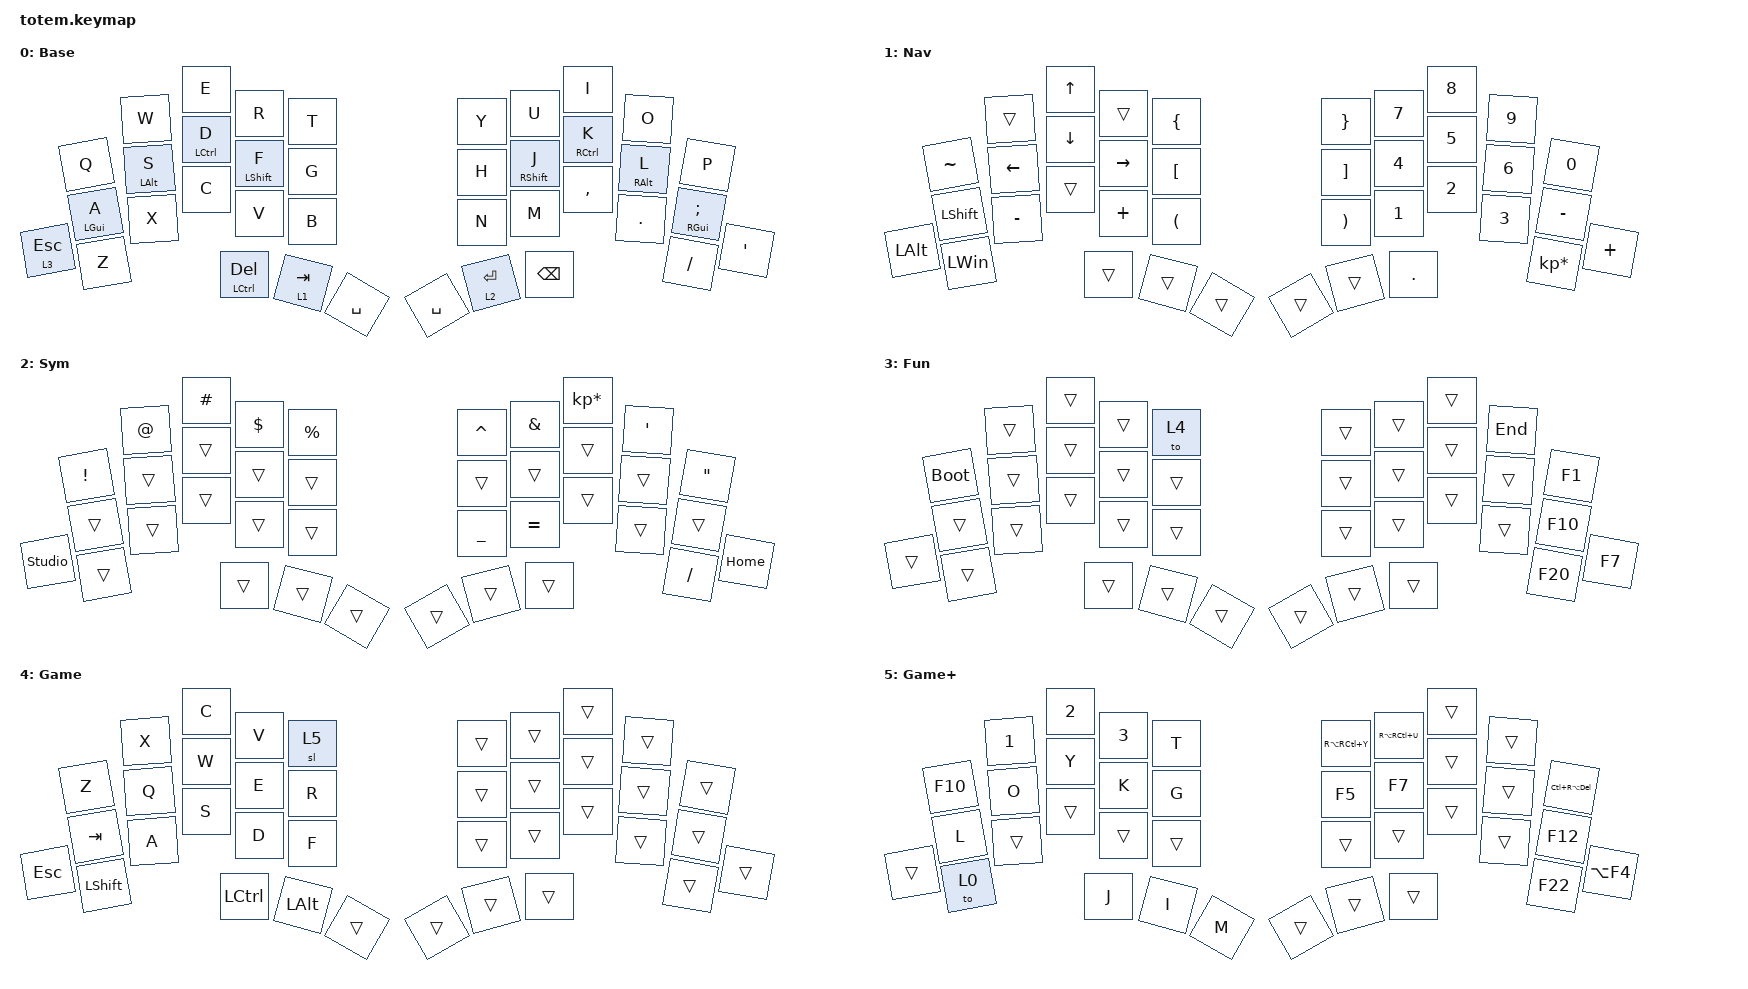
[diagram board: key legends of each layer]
//
//                                                        ▀▀▀▀▀     ▀▀▀▀▀          ▀▀█▀▀
//                                                        ▄▀▀▀▄  ▄  ▄▀▀▀▄  ▄  ▄▀▀▀▄  █  ▄▀▀▀▄
//                                                        █   █  █  █   █  █  █   █  █  █   █
//                                                         ▀▀▀   █   ▀▀▀   █   ▀▀▀   ▀   ▀▀▀
//                                                               █      ▄▄▄█▄▄▄    █   █  
//                                                               ▀      █  █  █     █▄█
//                                                             ▀▀▀▀▀    █  █  █      ▀
//                                                                      ▀  ▀  ▀
//
// ▄▄▄▄▄▄▄▄▄▄▄▄▄▄▄▄▄▄▄▄▄▄▄▄▄▄▄▄▄▄▄▄▄▄▄▄▄▄▄▄▄▄▄▄▄▄▄▄▄▄▄▄▄▄▄▄▄▄▄▄▄▄▄▄▄▄▄▄▄▄▄▄▄▄▄▄▄▄▄▄▄▄▄▄▄▄▄▄▄▄▄▄▄▄▄▄▄▄▄▄▄▄▄▄▄▄▄▄▄▄▄▄▄▄▄▄▄▄▄▄▄▄▄▄▄▄▄▄▄▄▄▄▄▄▄▄▄▄▄▄▄▄▄▄▄▄▄▄▄

#include <behaviors.dtsi>
#include <dt-bindings/zmk/keys.h>

#define Base        0
#define Nav         1
#define Sym         2
#define Fun         3
#define Game        4
#define Gameplus    5

&mt {
    quick-tap-ms = <100>;
    global-quick-tap;
    flavor = "tap-preferred";
    tapping-term-ms = <170>;
};

&lt {
    tapping-term-ms = <240>;
    flavor = "balanced";
    quick-tap-ms = <150>;
};

/ {
    behaviors {
        hm: homerow_mods {
            compatible = "zmk,behavior-hold-tap";
            label = "HOMEROW_MODS";
            #binding-cells = <2>;
            flavor = "tap-preferred";
            tapping-term-ms = <300>;
            quick-tap-ms = <150>;
            global-quick-tap;
            bindings = <&kp>, <&kp>;
        };
    };

    combos {
        compatible = "zmk,combos";

        left_curly_chord {
            bindings = <&kp LEFT_BRACE>;
            key-positions = <14 13>;
        };

        left_square_bracket {
            bindings = <&kp LEFT_BRACKET>;
            key-positions = <3 4>;
        };

        AltTab {
            bindings = <&kp LA(LEFT_GUI)>;
            key-positions = <20 10>;
        };
    };

    keymap {
        compatible = "zmk,keymap";

        Base {
            display-name = "Base";
            bindings = <
              &kp Q       &kp W       &kp E          &kp R         &kp T        &kp Y      &kp U        &kp I          &kp O       &kp P
              &hm LGUI A  &hm LALT S  &hm LCTRL D    &hm LSHIFT F  &kp G        &kp H      &hm RSHFT J  &hm RCTRL K    &hm RALT L  &hm RGUI SEMICOLON
&lt 3 ESCAPE  &kp Z       &kp X       &kp C          &kp V         &kp B        &kp N      &kp M        &kp COMMA      &kp DOT     &kp SLASH           &kp APOSTROPHE
                                      &mt LCTRL DEL  &lt 1 TAB     &kp SPACE    &kp SPACE  &lt 2 ENTER  &kp BACKSPACE
            >;
        };

        Nav {
            display-name = "Nav";
            bindings = <
              &kp TILDE       &trans     &kp UP_ARROW  &trans     &kp LBRC    &kp RBRC  &kp NUMBER_7  &kp NUMBER_8  &kp NUMBER_9  &kp NUMBER_0
              &kp LEFT_SHIFT  &kp LEFT   &kp DOWN      &kp RIGHT  &kp LBKT    &kp RBKT  &kp NUMBER_4  &kp NUMBER_5  &kp NUMBER_6  &kp MINUS
&kp LEFT_ALT  &kp LEFT_WIN    &kp MINUS  &trans        &kp PLUS   &kp LPAR    &kp RPAR  &kp NUMBER_1  &kp NUMBER_2  &kp NUMBER_3  &kp KP_MULTIPLY  &kp PLUS
                                         &trans        &trans     &trans      &trans    &trans        &kp DOT
            >;
        };

        Sym {
            display-name = "Sym";
            bindings = <
                &kp EXCL  &kp AT  &kp HASH  &kp DOLLAR  &kp PERCENT    &kp CARET  &kp AMPERSAND  &kp KP_ASTERISK  &kp SQT  &kp DQT
                &trans    &trans  &trans    &trans      &trans         &trans     &trans         &trans           &trans   &trans
&studio_unlock  &trans    &trans  &trans    &trans      &trans         &kp UNDER  &kp EQUAL      &trans           &trans   &kp SLASH  &kp HOME
                                  &trans    &trans      &trans         &trans     &trans         &trans
            >;
        };

        Fun {
            display-name = "Fun";
            bindings = <
        &bootloader  &trans  &trans  &trans  &to 4     &trans  &trans  &trans  &kp END  &kp F1
        &trans       &trans  &trans  &trans  &trans    &trans  &trans  &trans  &trans   &kp F10
&trans  &trans       &trans  &trans  &trans  &trans    &trans  &trans  &trans  &trans   &kp F20  &kp F7
                             &trans  &trans  &trans    &trans  &trans  &trans
            >;
        };

        Gaming {
            display-name = "Game";
            bindings = <
            &kp Z           &kp X  &kp C      &kp V         &sl 5     &trans  &trans  &trans  &trans  &trans
            &kp TAB         &kp Q  &kp W      &kp E         &kp R     &trans  &trans  &trans  &trans  &trans
&kp ESCAPE  &kp LEFT_SHIFT  &kp A  &kp S      &kp D         &kp F     &trans  &trans  &trans  &trans  &trans  &trans
                                   &kp LCTRL  &kp LEFT_ALT  &trans    &trans  &trans  &trans
            >;
        };

        Gaming+ {
            display-name = "Game+";
            bindings = <
        &kp F10  &kp NUMBER_1  &kp NUMBER_2  &kp NUMBER_3  &kp T     &kp RA(RC(Y))  &kp RA(RC(U))  &trans  &trans  &kp LC(RA(DEL))
        &kp L    &kp O         &kp Y         &kp K         &kp G     &kp F5         &kp F7         &trans  &trans  &kp F12
&trans  &to 0    &trans        &trans        &trans        &trans    &trans         &trans         &trans  &trans  &kp F22          &kp LA(F4)
                               &kp J         &kp I         &kp M     &trans         &trans         &trans
            >;
        };
    };
};
